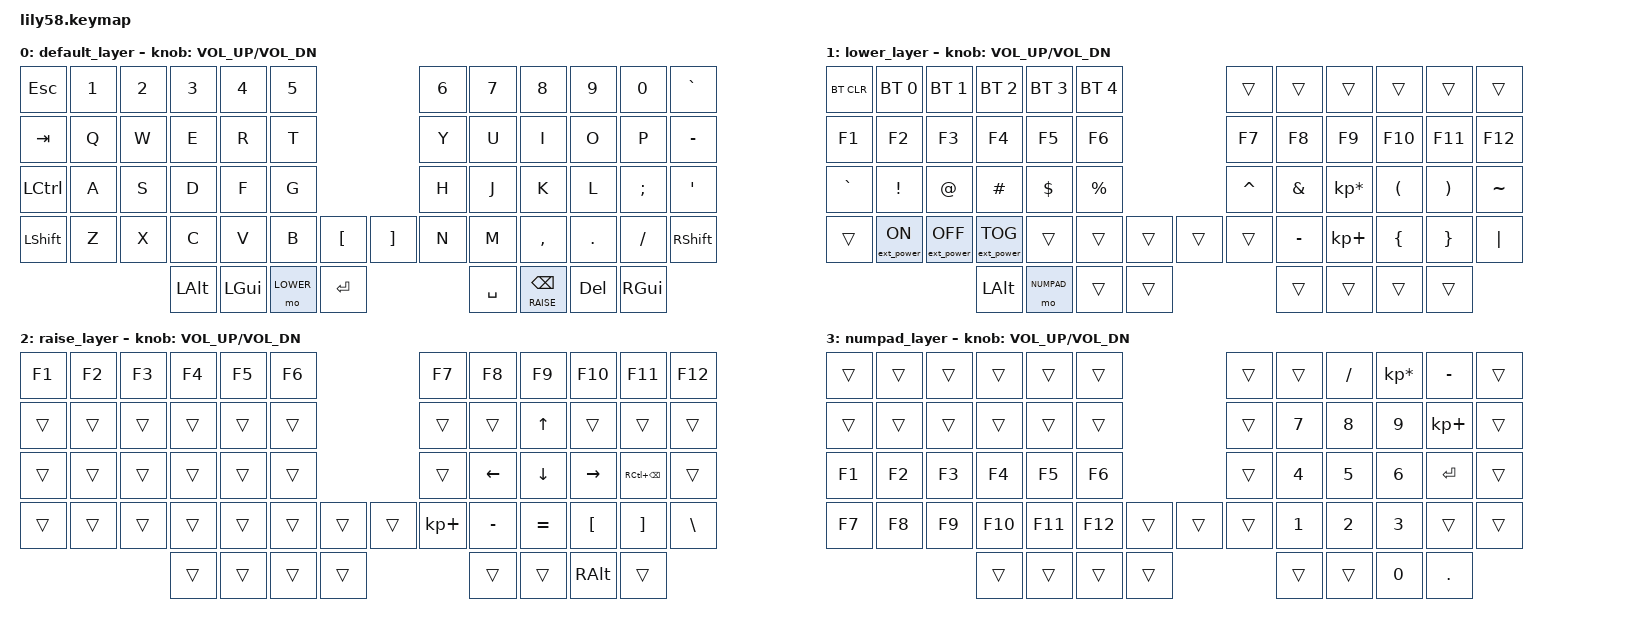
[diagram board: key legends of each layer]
/*
 * Copyright (c) 2020 The ZMK Contributors
 *
 * SPDX-License-Identifier: MIT
 */

#include <behaviors.dtsi>
#include <dt-bindings/zmk/keys.h>
#include <dt-bindings/zmk/bt.h>
#include <dt-bindings/zmk/ext_power.h>

#define DEFAULT 0
#define LOWER 	1
#define RAISE 	2
#define NUMPAD 	3
#define SEMI_POS 34
#define SPACE_POS 54

/ {
 	behaviors {
        tog_mo: behavior_mo_tog {
            compatible = "zmk,behavior-hold-tap";
            label = "mo_tog";
            #binding-cells = <2>;
            flavor = "hold-preferred";
            tapping-term-ms = <200>;
            bindings = <&mo>, <&kp>;
        };
    };

	keymap {
		compatible = "zmk,keymap";

		default_layer {
// ------------------------------------------------------------------------------------------------------------
// |  ESC  |  1  |  2  |  3   |  4   |  5   |                   |  6   |  7    |  8    |  9   |   0   |   `   |
// |  TAB  |  Q  |  W  |  E   |  R   |  T   |                   |  Y   |  U    |  I    |  O   |   P   |   -   |
// |  CTRL |  A  |  S  |  D   |  F   |  G   |                   |  H   |  J    |  K    |  L   |   ;   |   '   |
// | SHIFT |  Z  |  X  |  C   |  V   |  B   |   "["  |  |  "]"  |  N   |  M    |  ,    |  .   |   /   | SHIFT |
//                     | ALT  | GUI  | LOWER|  SPACE |  | ENTER | RAISE| BSPC  | GUI   |
			bindings = <
&kp ESC   &kp N1 &kp N2 &kp N3   &kp N4   &kp N5                     &kp N6 &kp N7   &kp N8    &kp N9  &kp N0   &kp GRAVE
&kp TAB   &kp Q  &kp W  &kp E    &kp R    &kp T                      &kp Y  &kp U    &kp I     &kp O   &kp P    &kp MINUS
&kp LCTRL &kp A  &kp S  &kp D    &kp F    &kp G                      &kp H  &kp J    &kp K     &kp L   &kp SEMI &kp SQT
&kp LSHFT &kp Z  &kp X  &kp C    &kp V    &kp B  &kp LBKT   &kp RBKT &kp N  &kp M    &kp COMMA &kp DOT &kp FSLH &kp RSHFT
                        &kp LALT &kp LGUI &mo LOWER  &kp RET  &kp SPACE  &tog_mo RAISE BSPC &kp DEL &kp RGUI
			>;

			sensor-bindings = <&inc_dec_kp C_VOL_UP C_VOL_DN>;
		};

		lower_layer {
// ------------------------------------------------------------------------------------------------------------
// | BTCLR | BT1 | BT2 |  BT3 |  BT4 |  BT5 |                   |      |       |       |      |       |       |
// |  F1   |  F2 |  F3 |  F4  |  F5  |  F6  |                   |  F7  |  F8   |  F9   |  F10 |  F11  |  F12  |
// |   `   |  !  |  @  |  #   |  $   |  %   |                   |  ^   |  &    |  *    |  (   |   )   |   ~   |
// |       |     |     |      |      |      |        |  |       |      |  _    |  +    |  {   |   }   |  "|"  |
//                     |      |      |      |        |  |       |      |       |       |
			bindings = <
&bt BT_CLR &bt BT_SEL 0     &bt BT_SEL 1      &bt BT_SEL 2      &bt BT_SEL 3 &bt BT_SEL 4                 &trans    &trans    &trans          &trans    &trans    &trans
&kp F1     &kp F2           &kp F3            &kp F4            &kp F5       &kp F6                       &kp F7    &kp F8    &kp F9          &kp F10   &kp F11   &kp F12
&kp GRAVE  &kp EXCL         &kp AT            &kp HASH          &kp DOLLAR   &kp PRCNT                    &kp CARET &kp AMPS  &kp KP_MULTIPLY &kp LPAR  &kp RPAR  &kp TILDE
&trans     &ext_power EP_ON &ext_power EP_OFF &ext_power EP_TOG &trans       &trans    &trans   &trans    &trans    &kp MINUS &kp KP_PLUS     &kp LBRC  &kp RBRC  &kp PIPE
                                              &kp LALT          &mo NUMPAD       &trans    &trans   &trans    &trans    &trans    &trans
			>;

			sensor-bindings = <&inc_dec_kp C_VOL_UP C_VOL_DN>;
		};

		raise_layer {
// ------------------------------------------------------------------------------------------------------------
// |       |     |     |      |      |      |                   |      |       |       |      |       |       |
// |   `   |  1  |  2  |  3   |  4   |  5   |                   |  6   |   7   |   8   |  9   |   0   |       |
// |   F1  |  F2 |  F3 |  F4  |  F5  |  F6  |                   |      |   <-  |   v   |  ^   |  ->   |       |
// |   F7  |  F8 |  F9 |  F10 |  F11 |  F12 |        |  |       |  +   |   -   |   =   |  [   |   ]   |   \   |
//                     |      |      |      |        |  |       |      |       |       |
			bindings = <
&kp F1	&kp F2 &kp F3 &kp F4  &kp F5  &kp F6                       &kp F7      &kp F8    &kp F9    &kp F10   &kp F11    &kp F12
&trans &trans &trans &trans  &trans  &trans                       &trans      &trans    &kp UP    &trans   &trans    &trans
&trans   &trans &trans &trans  &trans &trans                       &trans      &kp LEFT  &kp DOWN  &kp RIGHT   &kp RC(BSPC) &trans
&trans    &trans &trans &trans &trans &trans   &trans   &trans    &kp KP_PLUS &kp MINUS &kp EQUAL &kp LBKT &kp RBKT  &kp BSLH
                        &trans  &trans  &trans    &trans   &trans    &trans      &kp RALT  &trans
			>;

			sensor-bindings = <&inc_dec_kp C_VOL_UP C_VOL_DN>;
		};

		numpad_layer {
// ------------------------------------------------------------------------------------------------------------
// |       |     |     |      |      |      |                   |      |       |       |      |       |       |
// |   `   |  1  |  2  |  3   |  4   |  5   |                   |  6   |   7   |   8   |  9   |   0   |       |
// |   F1  |  F2 |  F3 |  F4  |  F5  |  F6  |                   |      |   <-  |   v   |  ^   |  ->   |       |
// |   F7  |  F8 |  F9 |  F10 |  F11 |  F12 |        |  |       |  +   |   -   |   =   |  [   |   ]   |   \   |
//                     |      |      |      |        |  |       |      |       |       |
			bindings = <
&trans	&trans &trans &trans  &trans  &trans                       &trans      &trans    &kp FSLH    &kp KP_MULTIPLY   &kp MINUS    &trans
&trans &trans &trans &trans  &trans  &trans                        &trans      &kp N7    &kp N8      &kp N9   &kp KP_PLUS    &trans
&kp F1    &kp F2 &kp F3 &kp F4  &kp F5  &kp F6                       &trans    &kp N4    &kp N5      &kp N6   &kp RET &trans
&kp F7    &kp F8 &kp F9 &kp F10 &kp F11 &kp F12   &trans   &trans    &trans    &kp N1    &kp N2      &kp N3   &trans  &trans
                        &trans  &trans  &trans    &trans   &trans    &trans    &kp N0    &kp DOT
			>;

			sensor-bindings = <&inc_dec_kp C_VOL_UP C_VOL_DN>;
		};
	};
};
